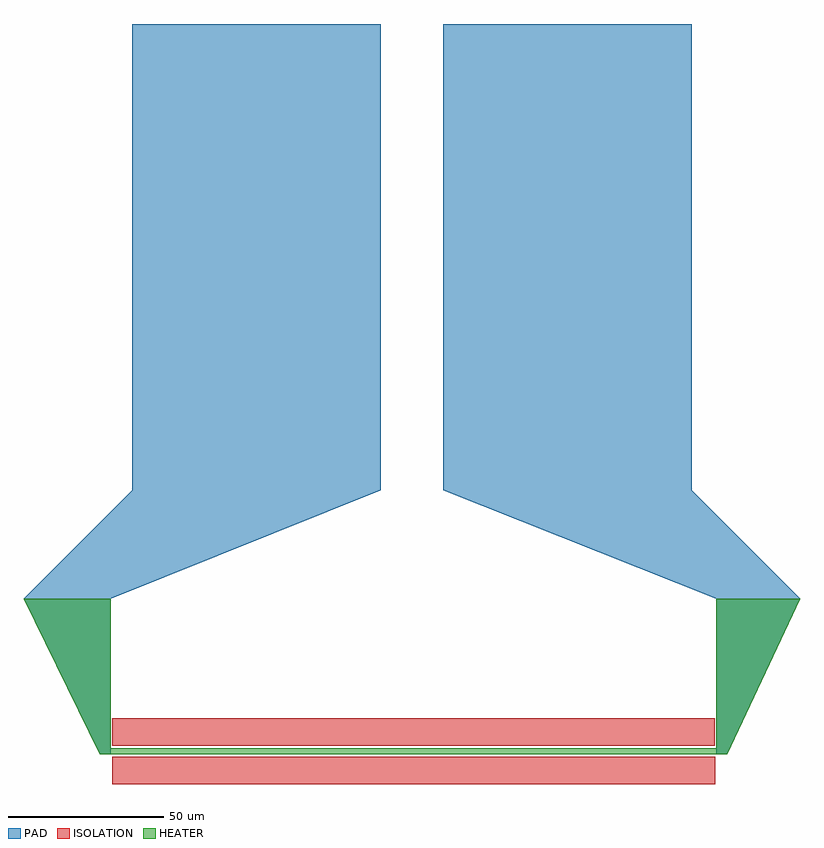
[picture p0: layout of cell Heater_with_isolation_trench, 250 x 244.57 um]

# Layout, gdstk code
import gdstk
lib = gdstk.Library(unit=1e-6, precision=1e-09)
def R(c, l, rs):  # rectangles x0, y0, x1, y1
    for r in rs: c.add(gdstk.rectangle(r[:2], r[2:], *l))
def P(c, l, *ps):  # polygons
    for p in ps: c.add(gdstk.Polygon(p, *l))
HEATER = (39, 0)
PAD = (41, 0)
ISOLATION = (46, 0)

heater_with_isolation_tr = lib.new_cell('Heater_with_isolation_trench')
R(heater_with_isolation_tr, HEATER, [(24.499,9.572,226.499,11.572)])
P(heater_with_isolation_tr, HEATER, [(24.499,9.572),(0,59.572),(28.062,59.572),(28.062,9.572)],
  [(222.942,9.568),(222.934,59.568),(250.002,59.568),(226.503,9.568)])
R(heater_with_isolation_tr, PAD, [(35,94.572,115,244.572), (135,94.572,215,244.572)])
P(heater_with_isolation_tr, PAD, [(0,59.572),(35,94.572),(115,94.572),(28.057,59.572)],
  [(24.499,9.572),(0,59.572),(28.062,59.572),(28.061,9.572)],
  [(222.936,59.568),(135,94.572),(215,94.572),(250.002,59.568)],
  [(222.942,9.568),(222.936,59.568),(250.002,59.568),(226.503,9.568)])
R(heater_with_isolation_tr, ISOLATION, [(28.542,0,222.573,8.822), (28.561,12.322,222.437,21.144)])

lib.write_gds('Heater_with_isolation_trench.gds')
